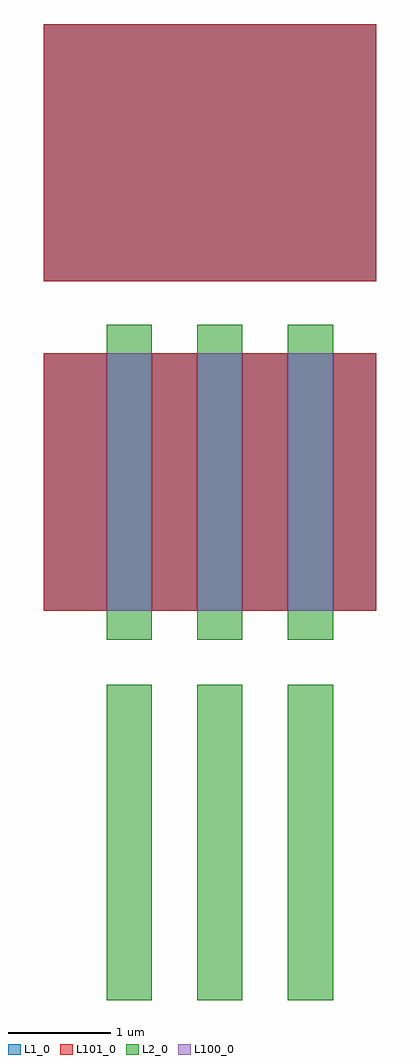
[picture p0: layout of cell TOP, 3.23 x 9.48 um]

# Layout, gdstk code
import gdstk
lib = gdstk.Library(unit=1e-6, precision=1e-09)
def R(c, l, rs):  # rectangles x0, y0, x1, y1
    for r in rs: c.add(gdstk.rectangle(r[:2], r[2:], *l))
L1_0 = (1, 0)
L2_0 = (2, 0)
L100_0 = (100, 0)
L101_0 = (101, 0)

child = lib.new_cell('CHILD')
R(child, L1_0, [(-0.25,-3.2,1.22,-0.7), (-0.25,0,1.22,2.5)])
R(child, L2_0, [(0.36,-0.28,0.8,2.78), (0.36,3.22,0.8,6.28)])
R(child, L100_0, [(0.36,0,0.8,2.5)])
R(child, L101_0, [(-0.25,-3.2,1.22,-0.7), (-0.08,0,0.36,2.5), (0.8,0,1.22,2.5)])

top = lib.new_cell('TOP')
R(top, L100_0, [(39.95,6.8,40.12,9.3), (40.83,6.8,41,9.3)])
R(top, L101_0, [(39.07,6.8,39.24,9.3)])
r = gdstk.Reference(child, (39.32,9.3), x_reflection=True); r.repetition = gdstk.Repetition(3, 1, v1=(0.88,0), v2=(0,0)); top.add(r)

lib.write_gds('TOP.gds')
